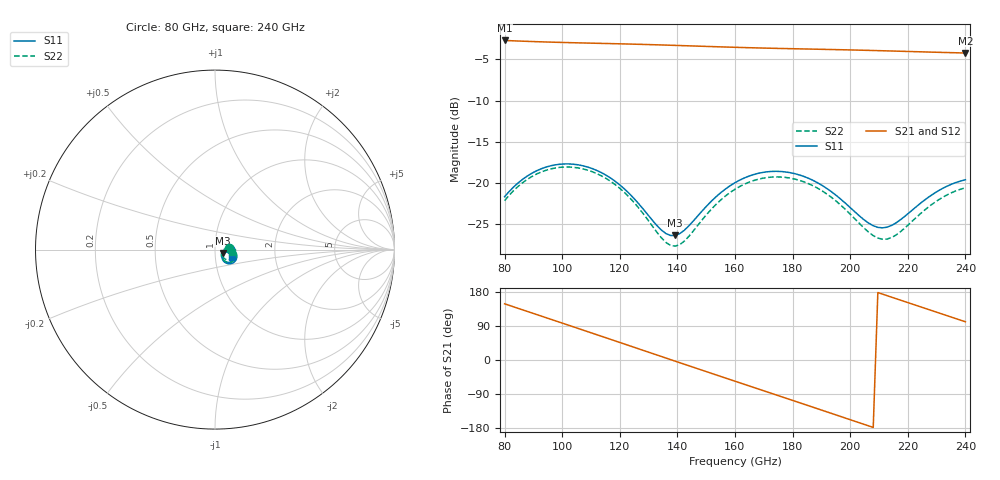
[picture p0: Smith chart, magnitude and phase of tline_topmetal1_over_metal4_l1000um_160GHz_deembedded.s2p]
! Created with skrf 2.0.1 (http://scikit-rf.org).
# GHz S DB R 50.0
!freq dBS11 angS11 dBS21 angS21 dBS12 angS12 dBS22 angS22
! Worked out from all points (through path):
!   101 points, 80 GHz to 240 GHz, reference 50 ohm
!   highest |S21| = -2.70 dB at 80 GHz (marker M1); lowest = -4.2 dB at 240 GHz (marker M2)
!   group delay of S21, straight-line fit = 7.08 ps
!   lowest |S11| = -26.4 dB at 139.2 GHz (marker M3), VSWR 1.10, Z = 54.5 - j2.12 ohm
!   |S11| at or under -10 dB: start of sweep to end of sweep
!   |S22| runs from -27.7 to -18.1 dB; largest |S21 - S12| = 1.1e-13
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80  -21.69 1.8  -2.70 148.3  -2.70 148.3  -22.17 4.8
88  -19.15 -4.7  -2.81 127.9  -2.81 127.9  -19.56 -1.5
94.4  -18.09 -13.6  -2.88 111.6  -2.88 111.6  -18.47 -10.4
100.8  -17.71 -23.7  -2.95 95.4  -2.95 95.4  -18.08 -20.4
107.2  -17.93 -33.8  -3.00 79.0  -3.00 79.0  -18.31 -30.5
113.6  -18.76 -43.2  -3.06 62.7  -3.06 62.7  -19.15 -40.1
121.6  -20.74 -51.8  -3.12 42.2  -3.12 42.2  -21.18 -49.2
128  -23.14 -52.7  -3.18 25.7  -3.18 25.7  -23.70 -50.9
134.4  -25.74 -41.5  -3.25 9.3  -3.25 9.3  -26.67 -40.1
139.2  -26.41 -23.9  -3.30 -3.0  -3.30 -3.0  -27.70 -20.5
148.8  -23.34 -2.0  -3.41 -27.5  -3.41 -27.5  -24.42 5.7
160  -19.99 -7.2  -3.53 -55.9  -3.53 -55.9  -20.79 1.0
172.8  -18.62 -24.3  -3.65 -88.4  -3.65 -88.4  -19.30 -16.1
179.2  -18.77 -33.5  -3.70 -104.6  -3.70 -104.6  -19.43 -25.4
187.2  -19.73 -43.7  -3.75 -124.9  -3.75 -124.9  -20.38 -35.9
195.2  -21.55 -50.0  -3.81 -145.3  -3.81 -145.3  -22.25 -42.8
201.6  -23.52 -48.6  -3.86 -161.6  -3.86 -161.6  -24.37 -42.3
209.6  -25.42 -33.7  -3.94 178.0  -3.94 178.0  -26.72 -26.9
214.4  -25.18 -21.1  -3.98 165.8  -3.98 165.8  -26.65 -12.3
220.8  -23.54 -11.2  -4.04 149.5  -4.04 149.5  -24.90 0.0
228.8  -21.36 -11.1  -4.12 129.2  -4.12 129.2  -22.52 1.1
240  -19.63 -21.7  -4.22 100.9  -4.22 100.9  -20.61 -9.3
